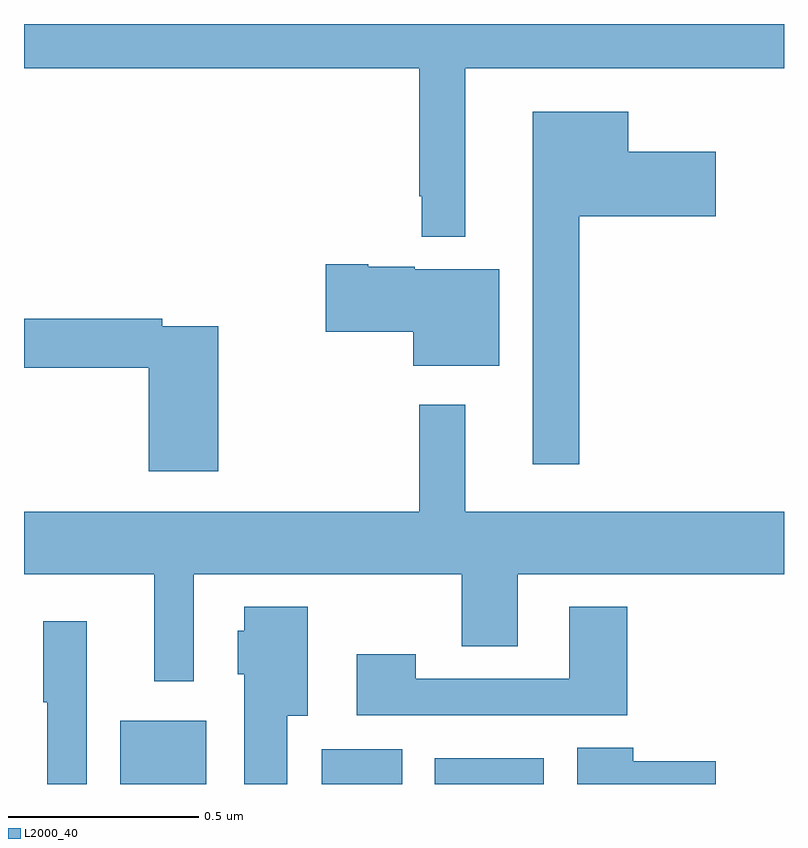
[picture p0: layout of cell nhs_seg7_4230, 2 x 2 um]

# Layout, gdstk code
import gdstk
lib = gdstk.Library(unit=1e-6, precision=1e-09)
def R(c, l, rs):  # rectangles x0, y0, x1, y1
    for r in rs: c.add(gdstk.rectangle(r[:2], r[2:], *l))
def P(c, l, *ps):  # polygons
    for p in ps: c.add(gdstk.Polygon(p, *l))
L2000_40 = (2000, 40)

nhs_seg7_4230 = lib.new_cell('nhs_seg7_4230')
R(nhs_seg7_4230, L2000_40, [(169.253,1064,169.48,1064.167), (169.784,1064,169.996,1064.092), (170.081,1064,170.368,1064.068)])
P(nhs_seg7_4230, L2000_40, [(170.161,1065.884),(171,1065.884),(171,1066),(169,1066),(169,1065.884),(170.04,1065.884),(170.04,1065.547),(170.047,1065.547),(170.047,1065.44),(170.161,1065.44)],
  [(170.461,1065.494),(170.821,1065.494),(170.821,1065.664),(170.59,1065.664),(170.59,1065.769),(170.339,1065.769),(170.339,1064.841),(170.461,1064.841)],
  [(170.251,1065.355),(170.028,1065.355),(170.028,1065.361),(169.906,1065.361),(169.906,1065.368),(169.794,1065.368),(169.794,1065.19),(170.024,1065.19),(170.024,1065.101),(170.251,1065.101)],
  [(169.511,1065.204),(169.364,1065.204),(169.364,1065.224),(169,1065.224),(169,1065.096),(169.328,1065.096),(169.328,1064.823),(169.511,1064.823)],
  [(169.447,1064.552),(170.152,1064.552),(170.152,1064.362),(170.299,1064.362),(170.299,1064.552),(171,1064.552),(171,1064.716),(170.161,1064.716),(170.161,1064.998),(170.04,1064.998),(170.04,1064.716),(169,1064.716),(169,1064.552),(169.343,1064.552),(169.343,1064.271),(169.447,1064.271)],
  [(170.588,1064.467),(170.435,1064.467),(170.435,1064.277),(170.031,1064.277),(170.031,1064.341),(169.875,1064.341),(169.875,1064.181),(170.588,1064.181)],
  [(169.693,1064.18),(169.747,1064.18),(169.747,1064.467),(169.58,1064.467),(169.58,1064.403),(169.562,1064.403),(169.562,1064.289),(169.58,1064.289),(169.58,1064),(169.693,1064)],
  [(169.165,1064.428),(169.051,1064.428),(169.051,1064.215),(169.061,1064.215),(169.061,1064),(169.165,1064)],
  [(170.821,1064.06),(170.603,1064.06),(170.603,1064.096),(170.456,1064.096),(170.456,1064),(170.821,1064)])

lib.write_gds('nhs_seg7_4230.gds')
